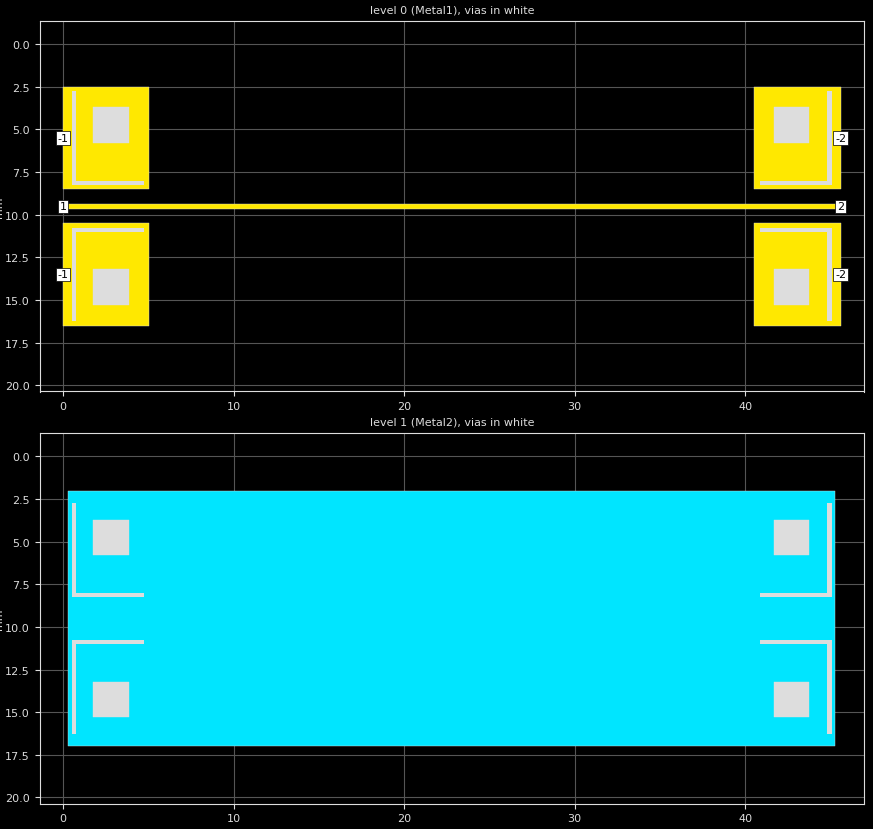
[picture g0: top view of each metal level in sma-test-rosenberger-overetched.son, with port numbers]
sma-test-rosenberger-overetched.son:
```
FTYP SONPROJ 18 ! Sonnet Project File
VER 17.56
HEADER
LIC antikernel2.1.50170 ac1f6b6437c5 havequick azonenberg Level3Gold
DAT 06/07/2021 23:49:02
BUILT_BY_CREATED dxf 17.52.2 05/01/2020 05:35:06
BUILT_BY_SAVED sonnet 17.56
MDATE 06/07/2021 23:49:02
HDATE 06/07/2021 23:49:02
ANN Created by dxfgeo, Sonnet Software Inc.
END HEADER
DIM
ANG DEG
CAP PF
CON /OH
FREQ GHZ
IND NH
LNG MM
RES OH
END DIM
CONTROL
VARSWP
OPTIONS  -dj
SPEED 1
CACHE_ABS 1
Q_ACC N
END CONTROL
GEO
SYM
TMET "Free Space" 0 FREESPACE 376.7303136 0 0 0
BMET "Free Space" 0 FREESPACE 376.7303136 0 0 0
MET "Copper 1oz thick" 2 TMM 58000000 0.5 0.035 2
MET "Nickel " 3 TMM 14300000 0.5 3.5e-05 2
MET "Copper 0.5oz" 1 NOR 58000000 0.5 0.0175 
MET "Unknown_metal" 1 NOR INF 0.5 0 
MET "Unknown_metal" 1 VOL INF 0
BRI "Alumina (96%)" 0 9.4 0.0004 0 
BRI "Alumina (99.5%)" 0 9.9 0.0001 0 
BRI "Aluminum Nitride" 0 8.6 0.0003 0 
BRI "Arlon 25FR" 0 3.58 0.0035 0 
BRI "Arlon 25N" 0 3.38 0.0025 0 
BRI "Arlon AD5" 0 5.1 0.003 0 
BRI "Arlon AD10" 0 10.2 0.005 0 
BRI "Arlon AD250" 0 2.5 0.0018 0 
BRI "Arlon AD255A" 0 2.55 0.0015 0 
BRI "Arlon AD260A" 0 2.6 0.0018 0 
BRI "Arlon AD270" 0 2.7 0.0023 0 
BRI "Arlon AD300A" 0 3 0.002 0 
BRI "Arlon AD320A" 0 3.2 0.0032 0 
BRI "Arlon AD350A" 0 3.5 0.003 0 
BRI "Arlon AD410" 0 4.1 0.003 0 
BRI "Arlon AD430" 0 4.3 0.003 0 
BRI "Arlon AD450" 0 4.5 0.0035 0 
BRI "Arlon AD600" 0 6.15 0.003 0 
BRI "Arlon AD1000" 0 10.2 0.0023 0 
BRI "Arlon AR1000" 0 9.8 0.003 0 
BRI "Arlon CLTE" 0 2.96 0.0023 0 
BRI "Arlon CLTE-AT" 0 3 0.0013 0 
BRI "Arlon CLTE-P" 0 2.94 0.0025 0 
BRI "Arlon CLTE-XT" 0 2.94 0.0012 0 
BRI "Arlon Cu 217LX" 0 2.17 0.0009 0 
BRI "Arlon Cu 233LX" 0 2.33 0.0013 0 
BRI "Arlon Cu 250GT" 0 2.5 0.001 0 
BRI "Arlon Cu 250GX" 0 2.5 0.0018 0 
BRI "Arlon Cu 6250" 0 2.32 0.0013 0 
BRI "Arlon Cu 6700" 0 2.35 0.0025 0 
BRI "Arlon Di 522" 0 2.5 0.001 0 
BRI "Arlon Di 527" 0 2.5 0.0018 0 
BRI "Arlon Di 870" 0 2.33 0.0013 0 
BRI "Arlon Di 880" 0 2.17 0.0009 0 
BRI "Arlon Iso 917" 0 2.17 0.0013 0 
BRI "Arlon Iso 933" 0 2.33 0.0016 0 
BRI "Arlon Multi HF" 0 3.7 0.004 0 
BRI "Arlon TC350" 0 3.5 0.002 0 
BRI "Arlon TC600" 0 6.15 0.002 0 
BRI "Beryllia (99.5%)" 0 6.5 0.0004 0 
BRI "CEM-1" 0 4.5 0.02 0 
BRI "CEM-3" 0 4.5 0.02 0 
BRI "Dupont 9K7" 0 7.1 0.0012 0 
BRI "Dupont 943" 0 7.4 0.002 0 
BRI "Dupont 951" 0 7.8 0.006 0 
BRI "Dupont FEP" 0 2 0.0005 0 
BRI "Dupont Vacrel" 0 3.8 0.011 0 
BRI "ESL 41010" 0 7.5 0.005 0 
BRI "ESL 41020" 0 7.25 0.005 0 
BRI "ESL 41050" 0 13.5 0.002 0 
BRI "ESL 41060" 0 16.5 0.002 0 
BRI "ESL 41110" 0 4.5 0.004 0 
BRI "Ferro A6M" 0 5.9 0.002 0 
BRI "Ferro A6S" 0 5.9 0.002 0 
BRI "Ferro L8" 0 7.3 0.0018 0 
BRI "FR-4" 0 4.4 0.02 0 
BRI "G-10" 0 4.8 0.025 0 
BRI "Gallium Arsenide" 0 12.9 0.006 0 
BRI "Gallium Nitride" 0 9.7 0 0 
BRI "Glass (Pyrex)" 0 4.82 0.0054 0 
BRI "Heraeus HL2000" 0 7.3 0.0026 0 
BRI "Isola 370HR" 0 4.04 0.021 0 
BRI "Isola FR408" 0 3.77 0.0116 0 
BRI "Isola FR408HR" 0 3.68 0.0092 0 
BRI "Isola Getek" 0 3.6 0.01 0 
BRI "Isola GI-180" 0 3.7 0.013 0 
BRI "Isola IS415" 0 3.82 0.0125 0 
BRI "Isola IS620i" 0 3.58 0.006 0 
BRI "Isola IS680-280" 0 2.8 0.0025 0 
BRI "Isola IS680-300" 0 3 0.003 0 
BRI "Isola IS680-320" 0 3.2 0.003 0 
BRI "Isola IS680-333" 0 3.33 0.003 0 
BRI "Isola IS680-338" 0 3.38 0.0032 0 
BRI "Isola IS680-345" 0 3.45 0.0036 0 
BRI "Kerafol CT800" 0 5.3 0.008 0 
BRI "Nelco MW9350" 0 3.7 0.004 0 
BRI "Nelco N4000-12" 0 3.7 0.008 0 
BRI "Nelco N4000-13" 0 3.7 0.009 0 
BRI "Nelco N4000-13SI" 0 3.2 0.007 0 
BRI "Nelco N4000-13EP" 0 3.7 0.008 0 
BRI "Nelco N4350-13RF" 0 3.5 0.0065 0 
BRI "Nelco N4380-13RF" 0 3.8 0.007 0 
BRI "Nelco N9300-13RF" 0 3 0.004 0 
BRI "Nelco N9320-13RF" 0 3.2 0.0045 0 
BRI "Nelco N9338-13RF" 0 3.38 0.0046 0 
BRI "Nelco N9350-13RF" 0 3.48 0.0055 0 
BRI "Nelco NH9294" 0 2.94 0.0022 0 
BRI "Nelco NH9300" 0 3 0.0023 0 
BRI "Nelco NH9320" 0 3.2 0.0024 0 
BRI "Nelco NH9338" 0 3.38 0.0025 0 
BRI "Nelco NH9348" 0 3.48 0.003 0 
BRI "Nelco NH9350" 0 3.5 0.003 0 
BRI "Nelco NH9410" 0 4.1 0.003 0 
BRI "Nelco NH9450" 0 4.5 0.003 0 
BRI "Nelco NX9240" 0 2.4 0.0016 0 
BRI "Nelco NX9245" 0 2.45 0.0016 0 
BRI "Nelco NX9250" 0 2.5 0.0017 0 
BRI "Nelco NX9255" 0 2.55 0.0018 0 
BRI "Nelco NX9260" 0 2.6 0.0019 0 
BRI "Nelco NY9208" 0 2.08 0.0006 0 
BRI "Nelco NY9217" 0 2.17 0.0008 0 
BRI "Nelco NY9220" 0 2.2 0.0009 0 
BRI "Nelco NY9233" 0 2.33 0.0011 0 
BRI "PET" 0 3.37 0.0208 0 
BRI "Polyimide" 0 3.5 0.003 0 
BRI "Quartz (Fused)" 0 3.78 0.0001 0 
BRI "Rogers 3001" 0 2.28 0.003 0 
BRI "Rogers RO2808" 0 7.6 0.0015 0 
BRI "Rogers RO3003" 0 3 0.0013 0 
BRI "Rogers RO3006" 0 6.5 0.002 0 
BRI "Rogers RO3010" 0 11.2 0.0022 0 
BRI "Rogers RO3035" 0 3.6 0.0018 0 
BRI "Rogers RO3203" 0 3.02 0.0016 0 
BRI "Rogers RO3206" 0 6.6 0.0027 0 
BRI "Rogers RO3210" 0 10.8 0.0027 0 
BRI "Rogers RO3730" 0 3 0.0016 0 
BRI "Rogers RO4003C" 0 3.55 0.0029 0 
BRI "Rogers RO4533" 0 3.45 0.0029 0 
BRI "Rogers RO4534" 0 3.4 0.003 0 
BRI "Rogers RO4350B" 0 3.66 0.0037 0 
BRI "Rogers RO4350BTX" 0 3.66 0.0034 0 
BRI "Rogers RO4360" 0 6.15 0.0038 0 
BRI "Rogers RO4450B-3.6" 0 3.3 0.0043 0 
BRI "Rogers RO4450B-4" 0 3.54 0.004 0 
BRI "Rogers RO4450F" 0 3.52 0.0041 0 
BRI "Rogers RO4730" 0 3 0.0033 0 
BRI "Rogers RT5870" 0 2.33 0.0012 0 
BRI "Rogers RT5880" 0 2.2 0.0009 0 
BRI "Rogers RT5880LZ" 0 1.96 0.0019 0 
BRI "Rogers RT6002" 0 2.94 0.0012 0 
BRI "Rogers RT6006" 0 6.15 0.0027 0 
BRI "Rogers RT6010LM" 0 10.9 0.0023 0 
BRI "Rogers RT6035HTC" 0 3.6 0.0013 0 
BRI "Rogers RT6202" 0 2.94 0.0015 0 
BRI "Rogers RT6202PR" 0 2.95 0.0015 0 
BRI "Rogers Syron7000" 0 3.4 0.0045 0 
BRI "Rogers Syron7100-2" 0 3.61 0.006 0 
BRI "Rogers Syron7100-4" 0 3.39 0.005 0 
BRI "Rogers Theta" 0 4.01 0.0118 0 
BRI "Rogers TMM 3" 0 3.39 0.002 0 
BRI "Rogers TMM 4" 0 4.5 0.002 0 
BRI "Rogers TMM 6" 0 6 0.0023 0 
BRI "Rogers TMM 10" 0 9.56 0.0022 0 
BRI "Rogers TMM 10i" 0 9.96 0.002 0 
BRI "Rogers UL2000" 0 2.5 0.0019 0 
BRI "Rogers UL3850" 0 3.05 0.0025 0 
BRI "Rogers UL3908" 0 2.9 0.0025 0 
BRI "Rogers XT8000" 0 3.34 0.0035 0 
BRI "Rogers XT8100-2" 0 3.54 0.0049 0 
BRI "Rogers XT8100-4" 0 3.32 0.0038 0 
BRI "Silicon (intrinsic)" 0 11.9 0.004 0.00044 
BRI "Silicon Dioxide" 0 3.9 0 0 
BRI "Silicon Nitride" 0 7.5 0 0 
BRI "Taconic CER-10" 0 10 0.0035 0 
BRI "Taconic FastFilm" 0 2.7 0.0012 0 
BRI "Taconic Fastrise-DS" 0 2.96 0.0018 0 
BRI "Taconic Fastrise27" 0 2.7 0.0014 0 
BRI "Taconic Fastrise77" 0 7.7 0.0034 0 
BRI "Taconic FEP" 0 2 0.0003 0 
BRI "Taconic RF-30" 0 3 0.0014 0 
BRI "Taconic RF-35" 0 3.5 0.0018 0 
BRI "Taconic RF-35A2" 0 3.5 0.0011 0 
BRI "Taconic RF-35P" 0 3.5 0.0025 0 
BRI "Taconic RF-41" 0 4.1 0.0038 0 
BRI "Taconic RF-43" 0 4.3 0.0033 0 
BRI "Taconic RF-45" 0 4.5 0.0037 0 
BRI "Taconic RF-60A" 0 6.15 0.0038 0 
BRI "Taconic RF-301" 0 2.97 0.0012 0 
BRI "Taconic TacBond HT" 0 2.35 0.0025 0 
BRI "Taconic TLA-6" 0 2.62 0.0012 0 
BRI "Taconic TLC-27" 0 2.75 0.003 0 
BRI "Taconic TLC-30" 0 3 0.003 0 
BRI "Taconic TLC-32" 0 3.2 0.003 0 
BRI "Taconic TLE-95" 0 2.95 0.0028 0 
BRI "Taconic TLF-34" 0 3.4 0.002 0 
BRI "Taconic TLF-35" 0 3.5 0.002 0 
BRI "Taconic TLP-3" 0 2.33 0.0009 0 
BRI "Taconic TLP-5" 0 2.2 0.0009 0 
BRI "Taconic TLP-5A" 0 2.17 0.0009 0 
BRI "Taconic TLT-0" 0 2.45 0.0006 0 
BRI "Taconic TLT-9" 0 2.5 0.0006 0 
BRI "Taconic TLT-8" 0 2.55 0.0006 0 
BRI "Taconic TLT-7" 0 2.6 0.0006 0 
BRI "Taconic TLT-6" 0 2.65 0.0006 0 
BRI "Taconic TLX-0" 0 2.45 0.0019 0 
BRI "Taconic TLX-9" 0 2.5 0.0019 0 
BRI "Taconic TLX-8" 0 2.55 0.0019 0 
BRI "Taconic TLX-7" 0 2.6 0.0019 0 
BRI "Taconic TLX-6" 0 2.65 0.0019 0 
BRI "Taconic TLY-3" 0 2.33 0.0009 0 
BRI "Taconic TLY-3F" 0 2.33 0.0009 0 
BRI "Taconic TLY-5" 0 2.2 0.0009 0 
BRI "Taconic TLY-5-L" 0 2.2 0.0009 0 
BRI "Taconic TLY-5A" 0 2.17 0.0009 0 
BRI "Taconic TLY-5A-L" 0 2.17 0.0009 0 
BRI "Taconic TPG-30" 0 3 0.0038 0 
BRI "Taconic TPG-32" 0 3.2 0.005 0 
BRI "Taconic TPG-35" 0 3.5 0.005 0 
BRI "Taconic TRF-41" 0 4.1 0.0035 0 
BRI "Taconic TRF-43" 0 4.3 0.0035 0 
BRI "Taconic TRF-45" 0 4.5 0.0035 0 
BRI "Taconic TSM-DS" 0 2.85 0.001 0 
BRI "Taconic TSM-DS3" 0 3 0.0011 0 
BRI "Taconic TSM-26" 0 2.6 0.0014 0 
BRI "Taconic TSM-29" 0 2.94 0.0013 0 
BRI "Taconic TSM-30" 0 3 0.0013 0 
BRI "Teflon (PTFE)" 0 2.08 0.0004 0 
BOX 3 45.6 19 3648 1520 20 0
      1 1 1 0 0 0 0 "Air"
      0.166 3.6 1 0.0092 0 0 0 "Isola FR408HR"
      1.4 3.6 1 0.0092 0 0 0 "Isola FR408HR"
      1 1 1 0 0 0 0 "Air"
TECHLAY METAL Metal1 BLACK -2 0 
0 0 0 N 2607 1 1 100 100 0 0 0 Y
END
END
TECHLAY VIA Via1 <UNSPECIFIED> -4 0 
VIA POLYGON
1 0 -1 N 2616 1 1 100 100 0 0 0 Y
TOLEVEL 0 RING NOCOVERS
END
END
TECHLAY METAL Metal2 BLACK -3 0 
1 0 2 N 2618 1 1 100 100 0 0 0 Y
END
END
VALVAR BOTLEN LNG 2 "Dim. Param."
VALVAR TOPLEN LNG 3 "Dim. Param."
VALVAR LINEWIDTH LNG 0.31 "Dim. Param."
LORGN 0 19 U 
POR1 BOX
POLY 1627 1
1
1 50 0 0 0 0 9.5 
POR1 BOX
POLY 1627 1
3
2 50 0 0 0 45.6 9.5 
POR1 BOX
POLY 1634 1
1
-1 50 0 0 0 0 13.5 
POR1 BOX
POLY 1638 1
3
-2 50 0 0 0 45.6 5.5 
POR1 BOX
POLY 1635 1
1
-1 50 0 0 0 0 5.5 
POR1 BOX
POLY 1639 1
3
-2 50 0 0 0 45.6 13.5 
NUM 14
0 5 0 N 1627 1 1 100 100 0 0 0 Y
TLAYNAM Metal1 INH
45.6 9.345
0 9.345
0 9.655
45.6 9.655
45.6 9.345
END
0 5 0 N 1634 1 1 100 100 0 0 0 Y
TLAYNAM Metal1 INH
5.0125 10.5
0 10.5
0 16.5
5.0125 16.5
5.0125 10.5
END
0 5 0 N 1638 1 1 100 100 0 0 0 Y
TLAYNAM Metal1 INH
45.6 2.5
40.5125 2.5
40.5125 8.5
45.6 8.5
45.6 2.5
END
0 5 0 N 1635 1 1 100 100 0 0 0 Y
TLAYNAM Metal1 INH
5.0125 2.5
0 2.5
0 8.5
5.0125 8.5
5.0125 2.5
END
0 5 0 N 1639 1 1 100 100 0 0 0 Y
TLAYNAM Metal1 INH
45.6 10.5
40.5125 10.5
40.5125 16.5
45.6 16.5
45.6 10.5
END
VIA POLYGON
0 8 -1 N 2380 1 1 100 100 0 0 0 Y
TOLEVEL 1 RING NOCOVERS
4.75 8
0.775 8
0.775 2.75
0.525 2.75
0.525 8
0.525 8.25
4.75 8.25
4.75 8
END
VIA POLYGON
0 8 -1 N 2383 1 1 100 100 0 0 0 Y
TOLEVEL 1 RING NOCOVERS
4.75 11
0.775 11
0.775 16.25
0.525 16.25
0.525 11
0.525 10.75
4.75 10.75
4.75 11
END
VIA POLYGON
0 8 -1 N 2385 1 1 100 100 0 0 0 Y
TOLEVEL 1 RING NOCOVERS
40.85 11
44.825 11
44.825 16.25
45.075 16.25
45.075 11
45.075 10.75
40.85 10.75
40.85 11
END
VIA POLYGON
0 8 -1 N 2386 1 1 100 100 0 0 0 Y
TOLEVEL 1 RING NOCOVERS
40.85 8
44.825 8
44.825 2.75
45.075 2.75
45.075 8
45.075 8.25
40.85 8.25
40.85 8
END
VIA POLYGON
1 5 -1 N 2127 1 1 100 100 0 0 0 Y
TOLEVEL 0 RING NOCOVERS
TLAYNAM Via1 INH
41.675 13.2
43.75 13.2
43.75 15.3
41.675 15.3
41.675 13.2
END
VIA POLYGON
1 5 -1 N 2128 1 1 100 100 0 0 0 Y
TOLEVEL 0 RING NOCOVERS
TLAYNAM Via1 INH
41.675 3.7
43.75 3.7
43.75 5.8
41.675 5.8
41.675 3.7
END
VIA POLYGON
1 5 -1 N 2122 1 1 100 100 0 0 0 Y
TOLEVEL 0 RING NOCOVERS
TLAYNAM Via1 INH
1.775 3.7
3.85 3.7
3.85 5.8
1.775 5.8
1.775 3.7
END
VIA POLYGON
1 5 -1 N 2126 1 1 100 100 0 0 0 Y
TOLEVEL 0 RING NOCOVERS
TLAYNAM Via1 INH
1.775 13.2
3.85 13.2
3.85 15.3
1.775 15.3
1.775 13.2
END
1 5 2 N 1880 1 1 100 100 0 0 0 Y
TLAYNAM Metal2 INH
0.2625 2
45.2625 2
45.2625 17
0.2625 17
0.2625 2
END
END GEO
OPT
MAX 100
END OPT
VARSWP
ENABLED Y
FREQ Y AY ABS_ENTRY 0.01 20.0 -1 300 
VAR LINEWIDTH N 0.35 0.35 UNDEF
END
END VARSWP
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```
